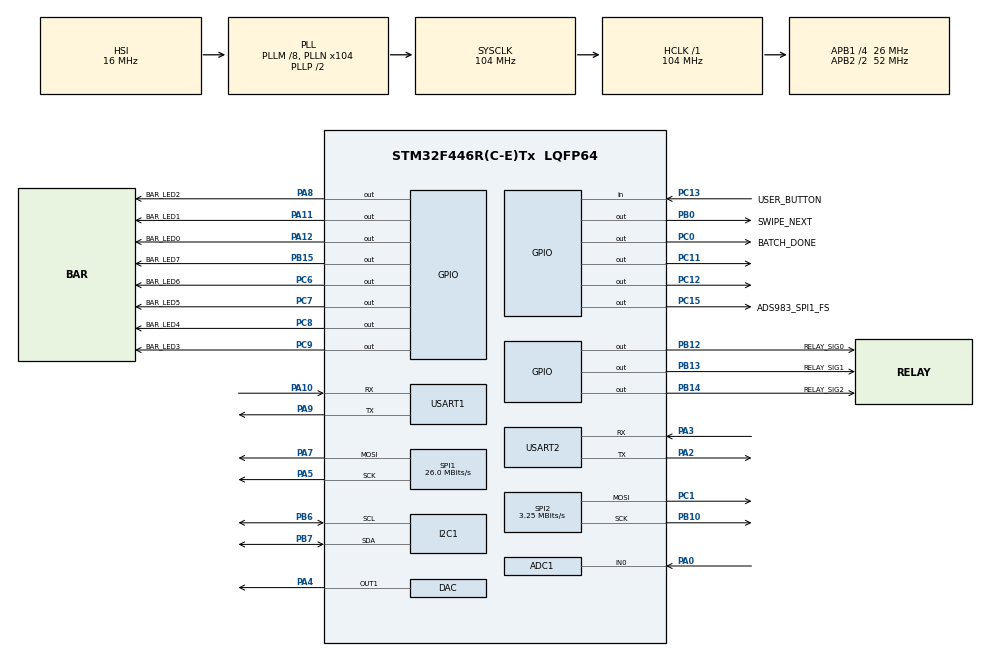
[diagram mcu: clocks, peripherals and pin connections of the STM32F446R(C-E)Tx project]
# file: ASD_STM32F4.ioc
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ADC1.Channel-0\#ChannelRegularConversion=ADC_CHANNEL_0
ADC1.ClockPrescaler=ADC_CLOCK_SYNC_PCLK_DIV8
ADC1.ContinuousConvMode=ENABLE
ADC1.DMAContinuousRequests=ENABLE
ADC1.NbrOfConversionFlag=1
ADC1.Rank-0\#ChannelRegularConversion=1
ADC1.SamplingTime-0\#ChannelRegularConversion=ADC_SAMPLETIME_144CYCLES
ADC1.master=1
DAC.DAC_Trigger=DAC_TRIGGER_T2_TRGO
Dma.ADC1.0.Direction=DMA_PERIPH_TO_MEMORY
Dma.ADC1.0.FIFOMode=DMA_FIFOMODE_DISABLE
Dma.ADC1.0.Instance=DMA2_Stream0
Dma.ADC1.0.MemDataAlignment=DMA_MDATAALIGN_HALFWORD
Dma.ADC1.0.MemInc=DMA_MINC_ENABLE
Dma.ADC1.0.Mode=DMA_CIRCULAR
Dma.ADC1.0.PeriphDataAlignment=DMA_PDATAALIGN_HALFWORD
Dma.ADC1.0.PeriphInc=DMA_PINC_DISABLE
Dma.ADC1.0.Priority=DMA_PRIORITY_LOW
Dma.DAC1.1.Direction=DMA_MEMORY_TO_PERIPH
Dma.DAC1.1.FIFOMode=DMA_FIFOMODE_DISABLE
Dma.DAC1.1.Instance=DMA1_Stream5
Dma.DAC1.1.MemDataAlignment=DMA_MDATAALIGN_HALFWORD
Dma.DAC1.1.MemInc=DMA_MINC_ENABLE
Dma.DAC1.1.Mode=DMA_CIRCULAR
Dma.DAC1.1.PeriphDataAlignment=DMA_PDATAALIGN_HALFWORD
Dma.DAC1.1.PeriphInc=DMA_PINC_DISABLE
Dma.DAC1.1.Priority=DMA_PRIORITY_LOW
Dma.Request0=ADC1
Dma.Request1=DAC1
Dma.Request2=SPI2_TX
Dma.SPI2_TX.2.Direction=DMA_MEMORY_TO_PERIPH
Dma.SPI2_TX.2.FIFOMode=DMA_FIFOMODE_DISABLE
Dma.SPI2_TX.2.Instance=DMA1_Stream4
Dma.SPI2_TX.2.MemDataAlignment=DMA_MDATAALIGN_BYTE
Dma.SPI2_TX.2.MemInc=DMA_MINC_ENABLE
Dma.SPI2_TX.2.Mode=DMA_NORMAL
Dma.SPI2_TX.2.PeriphDataAlignment=DMA_PDATAALIGN_BYTE
Dma.SPI2_TX.2.PeriphInc=DMA_PINC_DISABLE
Dma.SPI2_TX.2.Priority=DMA_PRIORITY_LOW
Mcu.Family=STM32F4
Mcu.Name=STM32F446R(C-E)Tx
Mcu.Package=LQFP64
NVIC.DMA1_Stream4_IRQn=true\:0\:0\:false\:false\:true\:false\:true\:true
NVIC.DMA1_Stream5_IRQn=true\:3\:0\:true\:false\:true\:false\:true\:true
NVIC.DMA2_Stream0_IRQn=true\:2\:0\:true\:false\:true\:false\:true\:true
NVIC.PriorityGroup=NVIC_PRIORITYGROUP_4
NVIC.TIM7_IRQn=true\:1\:0\:true\:false\:true\:true\:true\:true
NVIC.USART2_IRQn=true\:0\:0\:false\:false\:true\:true\:true\:true
PA0-WKUP.Signal=ADCx_IN0
PA10.Mode=Asynchronous
PA10.Signal=USART1_RX
PA11.GPIO_Label=BAR_LED1
PA11.Signal=GPIO_Output
PA12.GPIO_Label=BAR_LED0
PA12.Signal=GPIO_Output
PA13.Mode=Serial_Wire
PA13.Signal=SYS_JTMS-SWDIO
PA14.Mode=Serial_Wire
PA14.Signal=SYS_JTCK-SWCLK
PA2.Mode=Asynchronous
PA2.Signal=USART2_TX
PA3.Mode=Asynchronous
PA3.Signal=USART2_RX
PA4.Signal=COMP_DAC1_group
PA5.Mode=TX_Only_Simplex_Unidirect_Master
PA5.Signal=SPI1_SCK
PA7.Mode=TX_Only_Simplex_Unidirect_Master
PA7.Signal=SPI1_MOSI
PA8.GPIO_Label=BAR_LED2
PA8.Signal=GPIO_Output
PA9.Mode=Asynchronous
PA9.Signal=USART1_TX
PB0.GPIO_Label=SWIPE_NEXT
PB0.Signal=GPIO_Output
PB10.Mode=TX_Only_Simplex_Unidirect_Master
PB10.Signal=SPI2_SCK
PB12.GPIO_Label=RELAY_SIG0
PB12.Signal=GPIO_Output
PB13.GPIO_Label=RELAY_SIG1
PB13.Signal=GPIO_Output
PB14.GPIO_Label=RELAY_SIG2
PB14.Signal=GPIO_Output
PB15.GPIO_Label=BAR_LED7
PB15.Signal=GPIO_Output
PB6.Mode=I2C
PB6.Signal=I2C1_SCL
PB7.Mode=I2C
PB7.Signal=I2C1_SDA
PC0.GPIO_Label=BATCH_DONE
PC0.Signal=GPIO_Output
PC1.GPIO_PuPd=GPIO_PULLDOWN
PC1.Mode=TX_Only_Simplex_Unidirect_Master
PC1.Signal=SPI2_MOSI
PC11.Signal=GPIO_Output
PC12.Signal=GPIO_Output
PC13.GPIO_Label=USER_BUTTON
PC13.Signal=GPIO_Input
PC15-OSC32_OUT.GPIO_Label=ADS983_SPI1_FS
PC15-OSC32_OUT.Signal=GPIO_Output
PC6.GPIO_Label=BAR_LED6
PC6.Signal=GPIO_Output
PC7.GPIO_Label=BAR_LED5
PC7.Signal=GPIO_Output
PC8.GPIO_Label=BAR_LED4
PC8.Signal=GPIO_Output
PC9.GPIO_Label=BAR_LED3
PC9.Signal=GPIO_Output
ProjectManager.HeapSize=0x200
ProjectManager.StackSize=0x400
ProjectManager.TargetToolchain=STM32CubeIDE
RCC.AHBFreq_Value=104000000
RCC.APB1CLKDivider=RCC_HCLK_DIV4
RCC.APB1Freq_Value=26000000
RCC.APB1TimFreq_Value=52000000
RCC.APB2CLKDivider=RCC_HCLK_DIV2
RCC.APB2Freq_Value=52000000
RCC.APB2TimFreq_Value=104000000
RCC.CortexFreq_Value=104000000
RCC.HCLKFreq_Value=104000000
RCC.PLLM=8
RCC.PLLN=104
RCC.SYSCLKFreq_VALUE=104000000
RCC.SYSCLKSource=RCC_SYSCLKSOURCE_PLLCLK
RCC.USBFreq_Value=104000000
RCC.VCOOutputFreq_Value=208000000
SH.ADCx_IN0.0=ADC1_IN0,IN0
SH.COMP_DAC1_group.0=DAC_OUT1,DAC_OUT1
SPI1.CalculateBaudRate=26.0 MBits/s
SPI1.Direction=SPI_DIRECTION_2LINES
SPI1.Mode=SPI_MODE_MASTER
SPI1.VirtualType=VM_MASTER
SPI2.BaudRatePrescaler=SPI_BAUDRATEPRESCALER_8
SPI2.CalculateBaudRate=3.25 MBits/s
SPI2.Direction=SPI_DIRECTION_2LINES
SPI2.Mode=SPI_MODE_MASTER
SPI2.VirtualType=VM_MASTER
TIM2.Period=203125-1
TIM2.Prescaler=0
TIM2.TIM_MasterOutputTrigger=TIM_TRGO_UPDATE
TIM6.Prescaler=90-1
TIM7.Period=100-1
TIM7.Prescaler=520-1
USART1.VirtualMode=VM_ASYNC
USART2.VirtualMode=VM_ASYNC
VP_TIM10_VS_ClockSourceINT.Mode=Enable_Timer
VP_TIM2_VS_ClockSourceINT.Mode=Internal
VP_TIM6_VS_ClockSourceINT.Mode=Enable_Timer
VP_TIM7_VS_ClockSourceINT.Mode=Enable_Timer
board=custom

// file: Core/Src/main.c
/* USER CODE BEGIN Header */
/**
  ******************************************************************************
  * @file           : main.c
  * @brief          : Main program body
  ******************************************************************************
  * @attention
  *
  * Copyright (c) 2022 STMicroelectronics.
  * All rights reserved.
  *
  * This software is licensed under terms that can be found in the LICENSE file
  * in the root directory of this software component.
  * If no LICENSE file comes with this software, it is provided AS-IS.
  *
  ******************************************************************************
  */
/* USER CODE END Header */
#include "main.h"
#include "adc.h"
#include "dac.h"
#include "dma.h"
#include "i2c.h"
#include "spi.h"
#include "tim.h"
#include "usart.h"
#include "gpio.h"

/* USER CODE BEGIN Includes */
#include "ASD_Core.h"
#include "ASD_AnimationBasic.h"
#include "ASD_AnimationFlame.h"

/* USER CODE END Includes */

void SystemClock_Config(void);

/* USER CODE BEGIN 0 */
int __io_putchar(int ch) {
  if (ch == '\n') {
    __io_putchar('\r');
  }

  HAL_UART_Transmit(&huart2, (uint8_t*)&ch, 1, HAL_MAX_DELAY);
  return 1;
}

void HAL_TIM_PeriodElapsedCallback(TIM_HandleTypeDef *htim) {
  if (htim == &htim7) {
	  //1ms timer
	  ASD_CORE_updateGeneral();
  }
}

void HAL_ADC_ConvHalfCpltCallback(ADC_HandleTypeDef *AdcHandle) {
	if(AdcHandle == &hadc1) {
		ASD_CORE_processSignal();
		ASD_CORE_render();
	}
}

void HAL_ADC_ConvCpltCallback(ADC_HandleTypeDef *AdcHandle) {
	if(AdcHandle == &hadc1) {
		ASD_CORE_processSignal();
		ASD_CORE_render();
	}
}

/* USER CODE END 0 */

int main(void)
{

  /* MCU Configuration--------------------------------------------------------*/

  /* Reset of all peripherals, Initializes the Flash interface and the Systick. */
  HAL_Init();

  /* Configure the system clock */
  SystemClock_Config();

  /* Initialize all configured peripherals */
  MX_GPIO_Init();
  MX_DMA_Init();
  MX_USART2_UART_Init();
  MX_ADC1_Init();
  MX_TIM6_Init();
  MX_TIM7_Init();
  MX_DAC_Init();
  MX_TIM2_Init();
  MX_SPI2_Init();
  MX_TIM10_Init();
  MX_I2C1_Init();
  MX_SPI1_Init();
  MX_USART1_UART_Init();

  /* Infinite loop */
  /* USER CODE BEGIN WHILE */
  HAL_Delay(1000);
  ASD_CORE_init();
  ASD_CORE_setSwipe(0);
  ASD_CORE_selectSignalSource(SOURCE_AUX);
//  ASD_DISP_setMaxBrightness(0.1);

  ASD_CORE_attachAnimation(ASD_Animation_flame);
  printf("Loop started\n");

  while (1)
  {
    /* USER CODE END WHILE */

  }
}

void SystemClock_Config(void)
{
  RCC_OscInitTypeDef RCC_OscInitStruct = {0};
  RCC_ClkInitTypeDef RCC_ClkInitStruct = {0};

  /** Configure the main internal regulator output voltage
  */
  __HAL_RCC_PWR_CLK_ENABLE();
  __HAL_PWR_VOLTAGESCALING_CONFIG(PWR_REGULATOR_VOLTAGE_SCALE3);

  /** Initializes the RCC Oscillators according to the specified parameters
  * in the RCC_OscInitTypeDef structure.
  */
  RCC_OscInitStruct.OscillatorType = RCC_OSCILLATORTYPE_HSI;
  RCC_OscInitStruct.HSIState = RCC_HSI_ON;
  RCC_OscInitStruct.HSICalibrationValue = RCC_HSICALIBRATION_DEFAULT;
  RCC_OscInitStruct.PLL.PLLState = RCC_PLL_ON;
  RCC_OscInitStruct.PLL.PLLSource = RCC_PLLSOURCE_HSI;
  RCC_OscInitStruct.PLL.PLLM = 8;
  RCC_OscInitStruct.PLL.PLLN = 104;
  RCC_OscInitStruct.PLL.PLLP = RCC_PLLP_DIV2;
  RCC_OscInitStruct.PLL.PLLQ = 2;
  RCC_OscInitStruct.PLL.PLLR = 2;
  if (HAL_RCC_OscConfig(&RCC_OscInitStruct) != HAL_OK)
  {
    Error_Handler();
  }

  /** Initializes the CPU, AHB and APB buses clocks
  */
  RCC_ClkInitStruct.ClockType = RCC_CLOCKTYPE_HCLK|RCC_CLOCKTYPE_SYSCLK
                              |RCC_CLOCKTYPE_PCLK1|RCC_CLOCKTYPE_PCLK2;
  RCC_ClkInitStruct.SYSCLKSource = RCC_SYSCLKSOURCE_PLLCLK;
  RCC_ClkInitStruct.AHBCLKDivider = RCC_SYSCLK_DIV1;
  RCC_ClkInitStruct.APB1CLKDivider = RCC_HCLK_DIV4;
  RCC_ClkInitStruct.APB2CLKDivider = RCC_HCLK_DIV2;

  if (HAL_RCC_ClockConfig(&RCC_ClkInitStruct, FLASH_LATENCY_3) != HAL_OK)
  {
    Error_Handler();
  }
}

void Error_Handler(void)
{
  __disable_irq();
  while (1)
  {
  }
}
